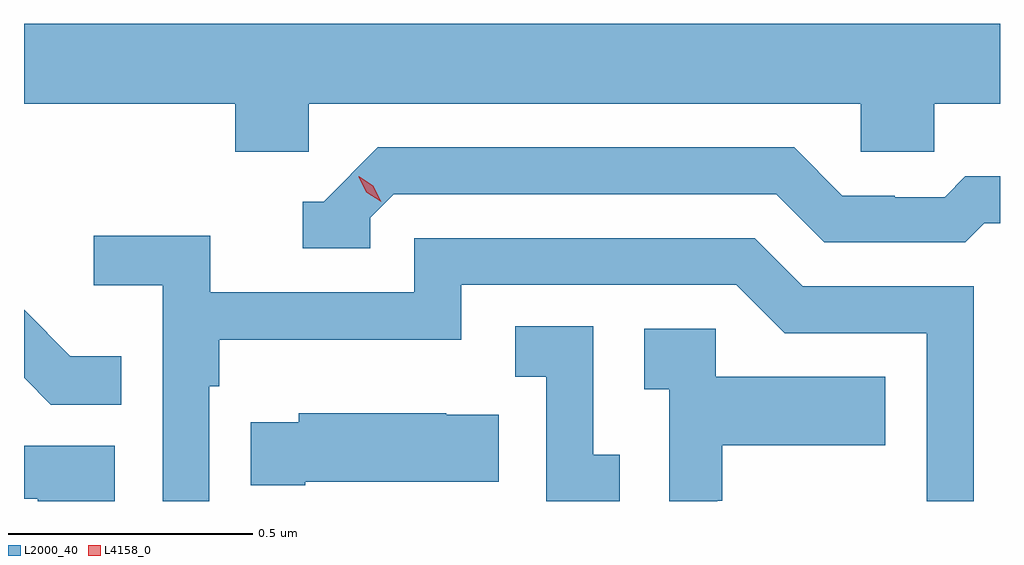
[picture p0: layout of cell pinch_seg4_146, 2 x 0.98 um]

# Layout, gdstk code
import gdstk
lib = gdstk.Library(unit=1e-6, precision=1e-09)
def P(c, l, *ps):  # polygons
    for p in ps: c.add(gdstk.Polygon(p, *l))
L2000_40 = (2000, 40)
L4158_0 = (4158, 0)

pinch_seg4_146 = lib.new_cell('pinch_seg4_146')
P(pinch_seg4_146, L2000_40, [(1125.162,807.476),(1126.293,807.476),(1126.293,807.378),(1126.443,807.378),(1126.443,807.476),(1126.578,807.476),(1126.578,807.64),(1124.578,807.64),(1124.578,807.476),(1125.011,807.476),(1125.011,807.378),(1125.162,807.378)],
  [(1125.288,807.243),(1125.336,807.291),(1126.119,807.291),(1126.218,807.192),(1126.507,807.192),(1126.546,807.231),(1126.578,807.231),(1126.578,807.328),(1126.507,807.328),(1126.465,807.285),(1126.362,807.285),(1126.362,807.288),(1126.255,807.288),(1126.156,807.387),(1125.303,807.387),(1125.192,807.276),(1125.149,807.276),(1125.149,807.18),(1125.288,807.18)],
  [(1124.958,806.897),(1124.978,806.897),(1124.978,806.993),(1125.474,806.993),(1125.474,807.105),(1126.038,807.105),(1126.137,807.006),(1126.428,807.006),(1126.428,806.662),(1126.524,806.662),(1126.524,807.102),(1126.174,807.102),(1126.075,807.201),(1125.378,807.201),(1125.378,807.09),(1124.96,807.09),(1124.96,807.206),(1124.721,807.206),(1124.721,807.104),(1124.862,807.104),(1124.862,806.662),(1124.958,806.662)],
  [(1124.777,806.959),(1124.673,806.959),(1124.578,807.054),(1124.578,806.915),(1124.633,806.86),(1124.777,806.86)],
  [(1125.799,806.757),(1125.744,806.757),(1125.744,807.02),(1125.585,807.02),(1125.585,806.917),(1125.648,806.917),(1125.648,806.662),(1125.799,806.662)],
  [(1125.999,806.663),(1126.009,806.663),(1126.009,806.777),(1126.343,806.777),(1126.343,806.917),(1125.996,806.917),(1125.996,807.015),(1125.849,807.015),(1125.849,806.891),(1125.9,806.891),(1125.9,806.662),(1125.999,806.662)],
  [(1125.154,806.702),(1125.551,806.702),(1125.551,806.839),(1125.443,806.839),(1125.443,806.842),(1125.141,806.842),(1125.141,806.824),(1125.043,806.824),(1125.043,806.695),(1125.154,806.695)],
  [(1124.764,806.775),(1124.578,806.775),(1124.578,806.667),(1124.606,806.667),(1124.606,806.662),(1124.764,806.662)])
P(pinch_seg4_146, L4158_0, [(1125.31,807.276),(1125.279,807.295),(1125.264,807.327),(1125.264,807.328),(1125.264,807.328),(1125.294,807.308),(1125.31,807.276),(1125.31,807.276)])

lib.write_gds('pinch_seg4_146.gds')
